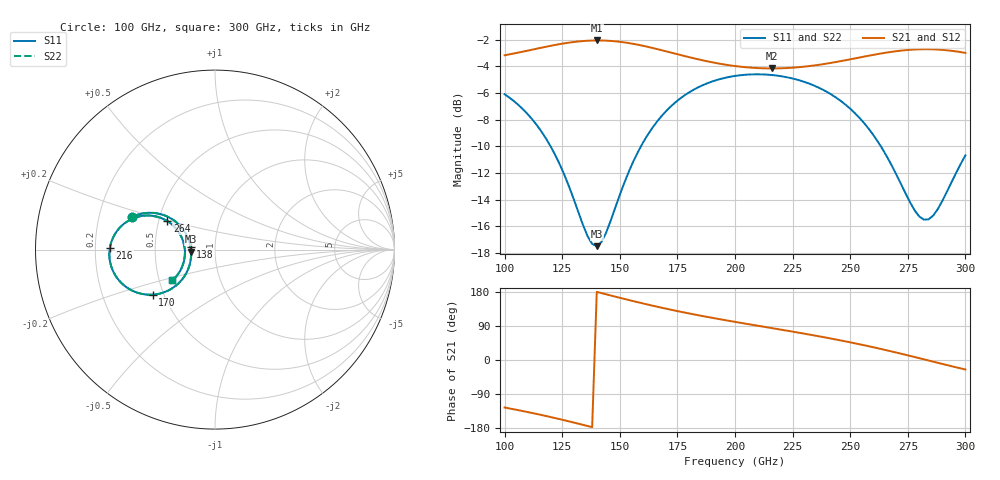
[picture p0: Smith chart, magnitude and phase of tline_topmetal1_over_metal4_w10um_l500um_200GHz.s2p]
#  GHZ S DB R 50
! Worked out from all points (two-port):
!   101 points, 100 GHz to 300 GHz, reference 50 ohm
!   highest |S21| = -2.05 dB at 140 GHz (marker M1); lowest = -4.1 dB at 216 GHz (marker M2)
!   |S21| within 3 dB of the highest: start of sweep to end of sweep
!   lowest |S11| = -17.5 dB at 140 GHz (marker M3), VSWR 1.31, Z = 38.2 - j0.948 ohm
!   |S11| at or under -10 dB: 120 GHz to 159.2 GHz (39.19 GHz wide, 28.1 % of centre); 263.3 GHz to end of sweep
!   |S22| runs from -17.5 to -4.6 dB; largest |S21 - S12| = 7.8e-14
!   S11 on the Smith chart (normalised r, x): 100 GHz: 0.35, +0.17; 138 GHz: 0.76, +0.02; 170 GHz: 0.43, -0.27; 216 GHz: 0.26, +0.01; 264 GHz: 0.56, +0.20; 300 GHz: 0.59, -0.22
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100  -6.08 158.4  -3.16 -125.4  -3.16 -125.4  -6.09 158.4
118  -9.42 145.8  -2.52 -147.8  -2.52 -147.8  -9.42 145.8
126  -12.16 145.2  -2.27 -159.1  -2.27 -159.1  -12.17 145.1
134  -15.88 157.8  -2.10 -171.0  -2.10 -171.0  -15.90 157.8
138  -17.31 174.6  -2.06 -177.2  -2.06 -177.2  -17.34 174.6
140  -17.48 -174.8  -2.05 179.7  -2.05 179.7  -17.51 -174.7
144  -16.49 -155.5  -2.06 173.5  -2.06 173.5  -16.51 -155.4
152  -12.71 -138.6  -2.20 161.2  -2.20 161.2  -12.71 -138.5
160  -9.73 -138.0  -2.45 149.3  -2.45 149.3  -9.74 -138.0
168  -7.75 -142.7  -2.77 138.2  -2.77 138.2  -7.75 -142.6
170  -7.37 -144.1  -2.86 135.5  -2.86 135.5  -7.37 -144.1
184  -5.57 -155.5  -3.46 118.2  -3.46 118.2  -5.57 -155.4
200  -4.71 -168.5  -3.97 100.6  -3.97 100.6  -4.71 -168.4
216  -4.64 179.1  -4.15 84.2  -4.15 84.2  -4.64 179.2
234  -5.41 165.6  -3.93 65.2  -3.93 65.2  -5.41 165.7
250  -7.17 154.4  -3.47 46.6  -3.47 46.6  -7.16 154.5
264  -10.19 149.1  -3.01 28.2  -3.01 28.2  -10.18 149.2
268  -11.42 150.1  -2.90 22.5  -2.90 22.5  -11.41 150.2
278  -14.80 165.9  -2.73 7.8  -2.73 7.8  -14.77 166.0
284  -15.47 -173.0  -2.71 -1.3  -2.71 -1.3  -15.43 -173.1
288  -14.71 -159.7  -2.73 -7.3  -2.73 -7.3  -14.67 -159.9
300  -10.67 -144.1  -2.98 -25.1  -2.98 -25.1  -10.66 -144.3
